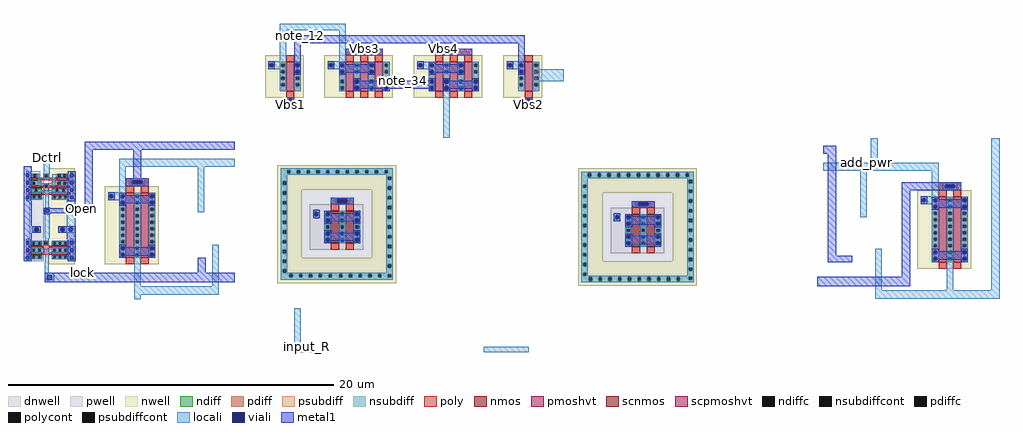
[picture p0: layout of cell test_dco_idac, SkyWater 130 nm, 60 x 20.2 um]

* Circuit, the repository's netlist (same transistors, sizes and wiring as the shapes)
* NGSPICE file created from test_dco_idac.ext - technology: sky130A

.subckt n_lk G S D B
X0 D G S B sky130_fd_pr__nfet_01v8 ad=0.4 pd=2.4 as=0.8 ps=4.8 w=2 l=0.5 M=2
.ends

.subckt sky130_fd_sc_hd__inv_2 A VGND VNB VPB VPWR Y
X0 Y A VPWR VPB sky130_fd_pr__pfet_01v8_hvt ad=0.135 pd=1.27 as=0.26 ps=2.52 w=1 l=0.15 M=2
X1 VGND A Y VNB sky130_fd_pr__nfet_01v8 ad=0.169 pd=1.82 as=0.08775 ps=0.92 w=0.65 l=0.15 M=2
.ends

.subckt sky130_fd_sc_hd__buf_2 A VGND VNB VPB VPWR X
X0 VPWR a_27_47# X VPB sky130_fd_pr__pfet_01v8_hvt ad=0.265 pd=2.53 as=0.135 ps=1.27 w=1 l=0.15 M=2
X1 VPWR A a_27_47# VPB sky130_fd_pr__pfet_01v8_hvt ad=0.149 pd=1.325 as=0.1664 ps=1.8 w=0.64 l=0.15
X2 X a_27_47# VGND VNB sky130_fd_pr__nfet_01v8 ad=0.08775 pd=0.92 as=0.097 ps=0.975 w=0.65 l=0.15 M=2
X3 VGND A a_27_47# VNB sky130_fd_pr__nfet_01v8 ad=0.097 pd=0.975 as=0.1092 ps=1.36 w=0.42 l=0.15
.ends

.subckt p_br1 G S D B
X0 D G S B sky130_fd_pr__pfet_01v8_hvt ad=0.72 pd=4.4 as=0.72 ps=4.4 w=1.8 l=0.5
.ends

.subckt p_lk G S D B
X0 D G S B sky130_fd_pr__pfet_01v8_hvt ad=0.8 pd=4.4 as=1.6 ps=8.8 w=4 l=0.5 M=2
.ends

.subckt p_br2 G S D B
X0 D G S B sky130_fd_pr__pfet_01v8_hvt ad=0.36 pd=2.2 as=0.72 ps=4.4 w=1.8 l=0.5 M=3
.ends

.subckt test_dco_idac VCCA Dctrl Vbs1 Vbs2 Vbs3 Vbs4
Xn_lk_2 n_lk_2/G n_lk_2/S n_lk_2/D n_lk_2/B n_lk
Xn_lk_3 n_lk_3/G n_lk_3/S n_lk_3/D n_lk_3/B n_lk
Xsky130_fd_sc_hd__inv_2_0 Open gnd gnd sky130_fd_sc_hd__inv_2_0/VPB sky130_fd_sc_hd__inv_2_0/VPB
+ lock sky130_fd_sc_hd__inv_2
Xsky130_fd_sc_hd__buf_2_0 Dctrl gnd gnd sky130_fd_sc_hd__inv_2_0/VPB sky130_fd_sc_hd__inv_2_0/VPB
+ Open sky130_fd_sc_hd__buf_2
Xp_br1_0 Vbs1 VCCA note_12 VCCA p_br1
Xp_br1_1 Vbs2 note_12 p_br1_1/D note_12 p_br1
Xp_lk_0 Open p_lk_0/S p_lk_0/D p_lk_0/S p_lk
Xp_lk_1 p_lk_1/G add_pwr p_lk_1/D add_pwr p_lk
Xp_br2_0 p_br2_0/G VCCA note_34 VCCA p_br2
Xp_br2_1 p_br2_1/G note_34 p_br2_1/D note_34 p_br2
.ends

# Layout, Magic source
magic
tech sky130A
<< dnwell >>
rect 120 -1090 760 -460
rect 1970 -1110 2610 -480
<< nwell >>
rect 1555 215 1595 225
rect 1015 90 1035 110
rect 75 -565 805 -415
rect -1330 -860 -1170 -630
rect -1325 -885 -1170 -860
rect -1330 -910 -1170 -885
rect 75 -985 225 -565
rect 655 -985 805 -565
rect 75 -1140 805 -985
rect 1925 -585 2655 -435
rect 1925 -1005 2075 -585
rect 2505 -1005 2655 -585
rect 1925 -1155 2655 -1005
<< pwell >>
rect -1450 -870 -1360 -625
<< pdiffc >>
rect 1015 90 1035 110
<< psubdiff >>
rect -1430 -800 -1380 -790
rect -1430 -820 -1415 -800
rect -1395 -820 -1380 -800
rect -1430 -830 -1380 -820
<< nsubdiff >>
rect 95 -445 785 -435
rect 95 -465 135 -445
rect 155 -465 195 -445
rect 215 -465 255 -445
rect 275 -465 315 -445
rect 335 -465 375 -445
rect 395 -465 435 -445
rect 455 -465 495 -445
rect 515 -465 555 -445
rect 575 -465 615 -445
rect 635 -465 675 -445
rect 695 -465 735 -445
rect 755 -465 785 -445
rect 95 -475 785 -465
rect 95 -515 135 -475
rect 95 -535 110 -515
rect 130 -535 135 -515
rect 95 -575 135 -535
rect 95 -595 110 -575
rect 130 -595 135 -575
rect 95 -635 135 -595
rect 95 -655 110 -635
rect 130 -655 135 -635
rect 95 -695 135 -655
rect 95 -715 110 -695
rect 130 -715 135 -695
rect 95 -755 135 -715
rect 95 -775 110 -755
rect 130 -775 135 -755
rect -1270 -800 -1220 -790
rect -1270 -820 -1255 -800
rect -1235 -820 -1220 -800
rect -1270 -830 -1220 -820
rect 95 -815 135 -775
rect 95 -835 110 -815
rect 130 -835 135 -815
rect 95 -875 135 -835
rect 95 -895 110 -875
rect 130 -895 135 -875
rect 95 -935 135 -895
rect 95 -955 110 -935
rect 130 -955 135 -935
rect 95 -995 135 -955
rect 95 -1015 110 -995
rect 130 -1015 135 -995
rect 95 -1055 135 -1015
rect 95 -1075 110 -1055
rect 130 -1075 135 -1055
rect 745 -485 785 -475
rect 745 -505 755 -485
rect 775 -505 785 -485
rect 745 -545 785 -505
rect 745 -565 755 -545
rect 775 -565 785 -545
rect 745 -605 785 -565
rect 745 -625 755 -605
rect 775 -625 785 -605
rect 745 -665 785 -625
rect 745 -685 755 -665
rect 775 -685 785 -665
rect 745 -725 785 -685
rect 745 -745 755 -725
rect 775 -745 785 -725
rect 745 -785 785 -745
rect 745 -805 755 -785
rect 775 -805 785 -785
rect 745 -845 785 -805
rect 745 -865 755 -845
rect 775 -865 785 -845
rect 745 -905 785 -865
rect 745 -925 755 -905
rect 775 -925 785 -905
rect 745 -965 785 -925
rect 745 -985 755 -965
rect 775 -985 785 -965
rect 745 -1025 785 -985
rect 745 -1045 755 -1025
rect 775 -1045 785 -1025
rect 745 -1075 785 -1045
rect 95 -1085 785 -1075
rect 95 -1105 150 -1085
rect 170 -1105 210 -1085
rect 230 -1105 270 -1085
rect 290 -1105 330 -1085
rect 350 -1105 390 -1085
rect 410 -1105 455 -1085
rect 475 -1105 515 -1085
rect 535 -1105 575 -1085
rect 595 -1105 635 -1085
rect 655 -1105 695 -1085
rect 715 -1105 755 -1085
rect 775 -1105 785 -1085
rect 95 -1120 785 -1105
rect 1945 -465 2635 -455
rect 1945 -485 1985 -465
rect 2005 -485 2045 -465
rect 2065 -485 2105 -465
rect 2125 -485 2165 -465
rect 2185 -485 2225 -465
rect 2245 -485 2285 -465
rect 2305 -485 2345 -465
rect 2365 -485 2405 -465
rect 2425 -485 2465 -465
rect 2485 -485 2525 -465
rect 2545 -485 2585 -465
rect 2605 -485 2635 -465
rect 1945 -495 2635 -485
rect 1945 -535 1985 -495
rect 1945 -555 1955 -535
rect 1975 -555 1985 -535
rect 1945 -595 1985 -555
rect 1945 -615 1955 -595
rect 1975 -615 1985 -595
rect 1945 -655 1985 -615
rect 1945 -675 1955 -655
rect 1975 -675 1985 -655
rect 1945 -715 1985 -675
rect 1945 -735 1955 -715
rect 1975 -735 1985 -715
rect 1945 -775 1985 -735
rect 1945 -795 1955 -775
rect 1975 -795 1985 -775
rect 1945 -835 1985 -795
rect 1945 -855 1955 -835
rect 1975 -855 1985 -835
rect 1945 -895 1985 -855
rect 1945 -915 1955 -895
rect 1975 -915 1985 -895
rect 1945 -955 1985 -915
rect 1945 -975 1955 -955
rect 1975 -975 1985 -955
rect 1945 -1015 1985 -975
rect 1945 -1035 1955 -1015
rect 1975 -1035 1985 -1015
rect 1945 -1075 1985 -1035
rect 1945 -1095 1955 -1075
rect 1975 -1095 1985 -1075
rect 2595 -505 2635 -495
rect 2595 -525 2605 -505
rect 2625 -525 2635 -505
rect 2595 -565 2635 -525
rect 2595 -585 2605 -565
rect 2625 -585 2635 -565
rect 2595 -625 2635 -585
rect 2595 -645 2605 -625
rect 2625 -645 2635 -625
rect 2595 -685 2635 -645
rect 2595 -705 2605 -685
rect 2625 -705 2635 -685
rect 2595 -745 2635 -705
rect 2595 -765 2605 -745
rect 2625 -765 2635 -745
rect 2595 -805 2635 -765
rect 2595 -825 2605 -805
rect 2625 -825 2635 -805
rect 2595 -865 2635 -825
rect 2595 -885 2605 -865
rect 2625 -885 2635 -865
rect 2595 -925 2635 -885
rect 2595 -945 2605 -925
rect 2625 -945 2635 -925
rect 2595 -985 2635 -945
rect 2595 -1005 2605 -985
rect 2625 -1005 2635 -985
rect 2595 -1045 2635 -1005
rect 2595 -1065 2605 -1045
rect 2625 -1065 2635 -1045
rect 2595 -1095 2635 -1065
rect 1945 -1100 2635 -1095
rect 1945 -1105 2605 -1100
rect 1945 -1125 1990 -1105
rect 2010 -1125 2050 -1105
rect 2070 -1125 2110 -1105
rect 2130 -1125 2170 -1105
rect 2190 -1125 2230 -1105
rect 2250 -1125 2290 -1105
rect 2310 -1125 2350 -1105
rect 2370 -1125 2410 -1105
rect 2430 -1125 2470 -1105
rect 2490 -1125 2530 -1105
rect 2550 -1120 2605 -1105
rect 2625 -1120 2635 -1100
rect 2550 -1125 2635 -1120
rect 1945 -1135 2635 -1125
<< psubdiffcont >>
rect -1415 -820 -1395 -800
<< nsubdiffcont >>
rect 135 -465 155 -445
rect 195 -465 215 -445
rect 255 -465 275 -445
rect 315 -465 335 -445
rect 375 -465 395 -445
rect 435 -465 455 -445
rect 495 -465 515 -445
rect 555 -465 575 -445
rect 615 -465 635 -445
rect 675 -465 695 -445
rect 735 -465 755 -445
rect 110 -535 130 -515
rect 110 -595 130 -575
rect 110 -655 130 -635
rect 110 -715 130 -695
rect 110 -775 130 -755
rect -1255 -820 -1235 -800
rect 110 -835 130 -815
rect 110 -895 130 -875
rect 110 -955 130 -935
rect 110 -1015 130 -995
rect 110 -1075 130 -1055
rect 755 -505 775 -485
rect 755 -565 775 -545
rect 755 -625 775 -605
rect 755 -685 775 -665
rect 755 -745 775 -725
rect 755 -805 775 -785
rect 755 -865 775 -845
rect 755 -925 775 -905
rect 755 -985 775 -965
rect 755 -1045 775 -1025
rect 150 -1105 170 -1085
rect 210 -1105 230 -1085
rect 270 -1105 290 -1085
rect 330 -1105 350 -1085
rect 390 -1105 410 -1085
rect 455 -1105 475 -1085
rect 515 -1105 535 -1085
rect 575 -1105 595 -1085
rect 635 -1105 655 -1085
rect 695 -1105 715 -1085
rect 755 -1105 775 -1085
rect 1985 -485 2005 -465
rect 2045 -485 2065 -465
rect 2105 -485 2125 -465
rect 2165 -485 2185 -465
rect 2225 -485 2245 -465
rect 2285 -485 2305 -465
rect 2345 -485 2365 -465
rect 2405 -485 2425 -465
rect 2465 -485 2485 -465
rect 2525 -485 2545 -465
rect 2585 -485 2605 -465
rect 1955 -555 1975 -535
rect 1955 -615 1975 -595
rect 1955 -675 1975 -655
rect 1955 -735 1975 -715
rect 1955 -795 1975 -775
rect 1955 -855 1975 -835
rect 1955 -915 1975 -895
rect 1955 -975 1975 -955
rect 1955 -1035 1975 -1015
rect 1955 -1095 1975 -1075
rect 2605 -525 2625 -505
rect 2605 -585 2625 -565
rect 2605 -645 2625 -625
rect 2605 -705 2625 -685
rect 2605 -765 2625 -745
rect 2605 -825 2625 -805
rect 2605 -885 2625 -865
rect 2605 -945 2625 -925
rect 2605 -1005 2625 -985
rect 2605 -1065 2625 -1045
rect 1990 -1125 2010 -1105
rect 2050 -1125 2070 -1105
rect 2110 -1125 2130 -1105
rect 2170 -1125 2190 -1105
rect 2230 -1125 2250 -1105
rect 2290 -1125 2310 -1105
rect 2350 -1125 2370 -1105
rect 2410 -1125 2430 -1105
rect 2470 -1125 2490 -1105
rect 2530 -1125 2550 -1105
rect 2605 -1120 2625 -1100
<< poly >>
rect 130 -10 180 0
rect 130 -30 145 -10
rect 165 -30 180 -10
rect 130 -40 180 -30
rect 1595 -10 1645 0
rect 1595 -30 1610 -10
rect 1630 -30 1645 -10
rect 1595 -40 1645 -30
<< polycont >>
rect 145 -30 165 -10
rect 1610 -30 1630 -10
<< locali >>
rect 90 415 495 455
rect 90 225 130 415
rect 455 225 495 415
rect 60 210 130 225
rect 60 175 90 210
rect 425 200 495 225
rect 425 175 455 200
rect 975 175 1005 220
rect 1525 215 1595 225
rect 1525 175 1555 215
rect 1645 100 1835 175
rect 130 -10 180 0
rect 130 -30 145 -10
rect 165 -30 180 -10
rect 130 -40 180 -30
rect 1095 -245 1135 40
rect 1595 -10 1645 0
rect 1595 -30 1610 -10
rect 1630 -30 1645 -10
rect 1595 -40 1645 -30
rect -1360 -470 -1325 -365
rect -895 -425 -185 -375
rect 3725 -400 3765 -250
rect -1355 -585 -1325 -570
rect -895 -580 -855 -425
rect -1350 -675 -1330 -585
rect -925 -595 -855 -580
rect -1355 -685 -1325 -675
rect -1355 -705 -1350 -685
rect -1330 -705 -1325 -685
rect -1430 -800 -1380 -790
rect -1430 -820 -1415 -800
rect -1395 -820 -1380 -800
rect -1430 -830 -1380 -820
rect -1355 -860 -1325 -705
rect -1220 -790 -1165 -625
rect -925 -630 -895 -595
rect -415 -705 -375 -425
rect 95 -445 785 -435
rect 95 -465 135 -445
rect 155 -465 195 -445
rect 215 -465 255 -445
rect 275 -465 315 -445
rect 335 -465 375 -445
rect 395 -465 435 -445
rect 455 -465 495 -445
rect 515 -465 555 -445
rect 575 -465 615 -445
rect 635 -465 675 -445
rect 695 -465 735 -445
rect 755 -465 785 -445
rect 3430 -450 4140 -400
rect 95 -475 785 -465
rect 95 -515 135 -475
rect 95 -535 110 -515
rect 130 -535 135 -515
rect 95 -575 135 -535
rect 95 -595 110 -575
rect 130 -595 135 -575
rect 95 -635 135 -595
rect 95 -655 110 -635
rect 130 -655 135 -635
rect 95 -695 135 -655
rect -1270 -800 -1165 -790
rect -1270 -820 -1255 -800
rect -1235 -820 -1205 -800
rect -1185 -820 -1165 -800
rect -1270 -830 -1165 -820
rect 95 -715 110 -695
rect 130 -715 135 -695
rect 95 -755 135 -715
rect 95 -775 110 -755
rect 130 -775 135 -755
rect 95 -815 135 -775
rect 95 -835 110 -815
rect 130 -835 135 -815
rect -1350 -885 -1330 -860
rect 95 -875 135 -835
rect 95 -895 110 -875
rect 130 -895 135 -875
rect -1355 -950 -1330 -945
rect -1350 -1010 -1330 -950
rect -1355 -1075 -1330 -1010
rect -1355 -1090 -1295 -1075
rect -1355 -1120 -1340 -1090
rect -1310 -1120 -1295 -1090
rect -1355 -1135 -1295 -1120
rect -805 -1160 -765 -980
rect -325 -1160 -285 -905
rect 95 -935 135 -895
rect 95 -955 110 -935
rect 130 -955 135 -935
rect 95 -995 135 -955
rect 95 -1015 110 -995
rect 130 -1015 135 -995
rect 95 -1055 135 -1015
rect 95 -1075 110 -1055
rect 130 -1075 135 -1055
rect 745 -485 785 -475
rect 745 -505 755 -485
rect 775 -505 785 -485
rect 745 -545 785 -505
rect 745 -565 755 -545
rect 775 -565 785 -545
rect 745 -605 785 -565
rect 745 -625 755 -605
rect 775 -625 785 -605
rect 745 -665 785 -625
rect 745 -685 755 -665
rect 775 -685 785 -665
rect 745 -725 785 -685
rect 745 -745 755 -725
rect 775 -745 785 -725
rect 745 -785 785 -745
rect 745 -805 755 -785
rect 775 -805 785 -785
rect 745 -845 785 -805
rect 745 -865 755 -845
rect 775 -865 785 -845
rect 745 -905 785 -865
rect 745 -925 755 -905
rect 775 -925 785 -905
rect 745 -965 785 -925
rect 745 -985 755 -965
rect 775 -985 785 -965
rect 745 -1025 785 -985
rect 745 -1045 755 -1025
rect 775 -1045 785 -1025
rect 745 -1075 785 -1045
rect 95 -1085 785 -1075
rect 95 -1105 150 -1085
rect 170 -1105 210 -1085
rect 230 -1105 270 -1085
rect 290 -1105 330 -1085
rect 350 -1105 390 -1085
rect 410 -1105 455 -1085
rect 475 -1105 515 -1085
rect 535 -1105 575 -1085
rect 595 -1105 635 -1085
rect 655 -1105 695 -1085
rect 715 -1105 755 -1085
rect 775 -1105 785 -1085
rect 95 -1120 785 -1105
rect 1945 -465 2635 -455
rect 1945 -485 1985 -465
rect 2005 -485 2045 -465
rect 2065 -485 2105 -465
rect 2125 -485 2165 -465
rect 2185 -485 2225 -465
rect 2245 -485 2285 -465
rect 2305 -485 2345 -465
rect 2365 -485 2405 -465
rect 2425 -485 2465 -465
rect 2485 -485 2525 -465
rect 2545 -485 2585 -465
rect 2605 -485 2635 -465
rect 1945 -495 2635 -485
rect 1945 -535 1985 -495
rect 1945 -555 1955 -535
rect 1975 -555 1985 -535
rect 1945 -595 1985 -555
rect 1945 -615 1955 -595
rect 1975 -615 1985 -595
rect 1945 -655 1985 -615
rect 1945 -675 1955 -655
rect 1975 -675 1985 -655
rect 1945 -715 1985 -675
rect 1945 -735 1955 -715
rect 1975 -735 1985 -715
rect 1945 -775 1985 -735
rect 1945 -795 1955 -775
rect 1975 -795 1985 -775
rect 1945 -835 1985 -795
rect 1945 -855 1955 -835
rect 1975 -855 1985 -835
rect 1945 -895 1985 -855
rect 1945 -915 1955 -895
rect 1975 -915 1985 -895
rect 1945 -955 1985 -915
rect 1945 -975 1955 -955
rect 1975 -975 1985 -955
rect 1945 -1015 1985 -975
rect 1945 -1035 1955 -1015
rect 1975 -1035 1985 -1015
rect 1945 -1075 1985 -1035
rect 1945 -1095 1955 -1075
rect 1975 -1095 1985 -1075
rect 2595 -505 2635 -495
rect 2595 -525 2605 -505
rect 2625 -525 2635 -505
rect 2595 -565 2635 -525
rect 2595 -585 2605 -565
rect 2625 -585 2635 -565
rect 2595 -625 2635 -585
rect 2595 -645 2605 -625
rect 2625 -645 2635 -625
rect 2595 -685 2635 -645
rect 2595 -705 2605 -685
rect 2625 -705 2635 -685
rect 2595 -745 2635 -705
rect 3660 -735 3700 -450
rect 4100 -605 4140 -450
rect 4070 -625 4140 -605
rect 4070 -655 4100 -625
rect 2595 -765 2605 -745
rect 2625 -765 2635 -745
rect 2595 -805 2635 -765
rect 2595 -825 2605 -805
rect 2625 -825 2635 -805
rect 2595 -865 2635 -825
rect 2595 -885 2605 -865
rect 2625 -885 2635 -865
rect 2595 -925 2635 -885
rect 2595 -945 2605 -925
rect 2625 -945 2635 -925
rect 2595 -985 2635 -945
rect 2595 -1005 2605 -985
rect 2625 -1005 2635 -985
rect 2595 -1045 2635 -1005
rect 2595 -1065 2605 -1045
rect 2625 -1065 2635 -1045
rect 2595 -1095 2635 -1065
rect 1945 -1100 2635 -1095
rect 1945 -1105 2605 -1100
rect 1945 -1125 1990 -1105
rect 2010 -1125 2050 -1105
rect 2070 -1125 2110 -1105
rect 2130 -1125 2170 -1105
rect 2190 -1125 2230 -1105
rect 2250 -1125 2290 -1105
rect 2310 -1125 2350 -1105
rect 2370 -1125 2410 -1105
rect 2430 -1125 2470 -1105
rect 2490 -1125 2530 -1105
rect 2550 -1120 2605 -1105
rect 2625 -1120 2635 -1100
rect 2550 -1125 2635 -1120
rect 1945 -1135 2635 -1125
rect -805 -1210 -285 -1160
rect 3750 -1185 3790 -930
rect 4190 -1185 4230 -1005
rect 4465 -1185 4515 -250
rect -805 -1240 -765 -1210
rect 3750 -1235 4515 -1185
rect 180 -1530 220 -1295
rect 180 -1565 295 -1530
rect 1345 -1565 1620 -1530
<< viali >>
rect 190 190 210 210
rect 1565 190 1585 210
rect 190 150 210 170
rect 1565 150 1585 170
rect 1015 90 1035 110
rect 1015 50 1035 70
rect 145 -30 165 -10
rect 1610 -30 1630 -10
rect -1350 -705 -1330 -685
rect -1415 -820 -1395 -800
rect -1255 -820 -1235 -800
rect -1205 -820 -1185 -800
rect -1340 -1120 -1310 -1090
<< metal1 >>
rect 180 335 1595 385
rect 180 210 220 335
rect 495 260 725 300
rect 1045 260 1275 300
rect 180 190 190 210
rect 210 190 220 210
rect 180 170 220 190
rect 180 150 190 170
rect 210 150 220 170
rect 180 140 220 150
rect 1555 210 1595 335
rect 1555 190 1565 210
rect 1585 190 1595 210
rect 1555 170 1595 190
rect 1555 150 1565 170
rect 1585 150 1595 170
rect 1555 140 1595 150
rect 1005 110 1045 120
rect 1005 105 1015 110
rect 765 90 1015 105
rect 1035 90 1045 110
rect 765 70 1045 90
rect 765 55 1015 70
rect 1005 50 1015 55
rect 1035 50 1045 70
rect 1005 40 1045 50
rect 130 -10 180 0
rect 130 -30 145 -10
rect 165 -30 180 -10
rect 130 -40 180 -30
rect 1595 -10 1645 0
rect 1595 -30 1610 -10
rect 1630 -30 1645 -10
rect 1595 -40 1645 -30
rect -1110 -320 -185 -270
rect -1485 -455 -1435 -420
rect -1485 -790 -1435 -635
rect -1360 -680 -1320 -675
rect -1110 -680 -1060 -320
rect -810 -510 -760 -320
rect 3430 -345 3510 -295
rect -1360 -685 -1060 -680
rect -1360 -705 -1350 -685
rect -1330 -705 -1060 -685
rect -1360 -710 -1060 -705
rect -1360 -715 -1320 -710
rect -1485 -800 -1380 -790
rect -1485 -820 -1415 -800
rect -1395 -820 -1380 -800
rect -1485 -830 -1380 -820
rect -1270 -800 -1165 -790
rect -1270 -820 -1255 -800
rect -1235 -820 -1205 -800
rect -1185 -820 -1165 -800
rect -1270 -830 -1165 -820
rect -1485 -870 -1435 -830
rect -1220 -870 -1165 -830
rect 3460 -970 3510 -345
rect 3915 -570 4140 -520
rect -415 -1075 -365 -985
rect 3460 -1010 3610 -970
rect -1355 -1090 -185 -1075
rect -1355 -1120 -1340 -1090
rect -1310 -1120 -185 -1090
rect 3915 -1100 3965 -570
rect -1355 -1135 -185 -1120
rect 3395 -1160 3965 -1100
use n_lk  n_lk_2
transform 1 0 405 0 1 -895
box -130 -40 200 280
use n_lk  n_lk_3
transform 1 0 2255 0 1 -915
box -130 -40 200 280
use p_br1  p_br1_0
transform 1 0 130 0 1 40
box -130 -40 108 220
use p_br1  p_br1_1
transform 1 0 1595 0 1 40
box -130 -40 108 220
use p_br2  p_br2_0
transform 1 0 495 0 1 40
box -130 -40 290 260
use p_br2  p_br2_1
transform 1 0 1045 0 1 40
box -130 -40 290 260
use p_lk  p_lk_0
transform 1 0 -855 0 1 -985
box -130 -40 200 490
use p_lk  p_lk_1
transform 1 0 4140 0 1 -1010
box -130 -40 200 490
use sky130_fd_sc_hd__buf_2  sky130_fd_sc_hd__buf_2_0 ~/eda/unic-cass/share/pdk/sky130A/libs.ref/sky130_fd_sc_hd/mag
transform 0 1 -1461 -1 0 -453
box -19 -24 203 296
use sky130_fd_sc_hd__inv_2  sky130_fd_sc_hd__inv_2_0 ~/eda/unic-cass/share/pdk/sky130A/libs.ref/sky130_fd_sc_hd/mag
transform 0 1 -1461 -1 0 -868
box -19 -24 157 296
<< labels >>
rlabel metal1 220 385 220 385 1 note_12
rlabel metal1 850 105 850 105 1 note_34
rlabel locali 255 -1530 255 -1530 1 input_R
rlabel locali 130 455 130 455 1 VCCA
port 1 n
rlabel metal1 155 -40 155 -40 5 Vbs1
port 3 s
rlabel metal1 1620 -40 1620 -40 5 Vbs2
port 4 s
rlabel metal1 610 300 610 300 1 Vbs3
rlabel metal1 565 300 565 300 1 Vbs3
port 5 n
rlabel metal1 1100 300 1100 300 1 Vbs4
port 6 n
rlabel locali 3700 -400 3700 -400 1 add_pwr
rlabel locali -1340 -365 -1340 -365 1 Dctrl
port 2 n
rlabel metal1 -1130 -680 -1130 -680 1 Open
rlabel metal1 -1120 -1075 -1120 -1075 1 lock
rlabel metal1 -1485 -430 -1485 -430 7 gnd
<< end >>

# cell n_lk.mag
magic
tech sky130A
<< pwell >>
rect -130 -40 200 240
<< nmos >>
rect 0 0 50 200
rect 90 0 140 200
<< ndiff >>
rect -40 190 0 200
rect -40 170 -30 190
rect -10 170 0 190
rect -40 150 0 170
rect -40 130 -30 150
rect -10 130 0 150
rect -40 110 0 130
rect -40 90 -30 110
rect -10 90 0 110
rect -40 70 0 90
rect -40 50 -30 70
rect -10 50 0 70
rect -40 30 0 50
rect -40 10 -30 30
rect -10 10 0 30
rect -40 0 0 10
rect 50 190 90 200
rect 50 170 60 190
rect 80 170 90 190
rect 50 150 90 170
rect 50 130 60 150
rect 80 130 90 150
rect 50 110 90 130
rect 50 90 60 110
rect 80 90 90 110
rect 50 70 90 90
rect 50 50 60 70
rect 80 50 90 70
rect 50 30 90 50
rect 50 10 60 30
rect 80 10 90 30
rect 50 0 90 10
rect 140 190 180 200
rect 140 170 150 190
rect 170 170 180 190
rect 140 150 180 170
rect 140 130 150 150
rect 170 130 180 150
rect 140 110 180 130
rect 140 90 150 110
rect 170 90 180 110
rect 140 70 180 90
rect 140 50 150 70
rect 170 50 180 70
rect 140 30 180 50
rect 140 10 150 30
rect 170 10 180 30
rect 140 0 180 10
<< ndiffc >>
rect -30 170 -10 190
rect -30 130 -10 150
rect -30 90 -10 110
rect -30 50 -10 70
rect -30 10 -10 30
rect 60 170 80 190
rect 60 130 80 150
rect 60 90 80 110
rect 60 50 80 70
rect 60 10 80 30
rect 150 170 170 190
rect 150 130 170 150
rect 150 90 170 110
rect 150 50 170 70
rect 150 10 170 30
<< psubdiff >>
rect -110 190 -70 205
rect -110 170 -100 190
rect -80 170 -70 190
rect -110 155 -70 170
<< psubdiffcont >>
rect -100 170 -80 190
<< poly >>
rect 0 270 140 280
rect 0 250 40 270
rect 100 250 140 270
rect 0 240 140 250
rect 0 200 50 240
rect 90 200 140 240
rect 0 -40 50 0
rect 90 -40 140 0
<< polycont >>
rect 40 250 100 270
<< locali >>
rect 25 270 115 280
rect 25 250 40 270
rect 100 250 115 270
rect 25 240 115 250
rect -110 190 -70 205
rect -110 170 -100 190
rect -80 170 -70 190
rect -110 155 -70 170
rect -40 190 0 200
rect -40 170 -30 190
rect -10 170 0 190
rect -40 150 0 170
rect -40 130 -30 150
rect -10 130 0 150
rect -40 110 0 130
rect -40 90 -30 110
rect -10 90 0 110
rect -40 70 0 90
rect -40 50 -30 70
rect -10 50 0 70
rect -40 30 0 50
rect -40 10 -30 30
rect -10 10 0 30
rect -40 0 0 10
rect 50 190 90 200
rect 50 170 60 190
rect 80 170 90 190
rect 50 150 90 170
rect 50 130 60 150
rect 80 130 90 150
rect 50 110 90 130
rect 50 90 60 110
rect 80 90 90 110
rect 50 70 90 90
rect 50 50 60 70
rect 80 50 90 70
rect 50 30 90 50
rect 50 10 60 30
rect 80 10 90 30
rect 50 0 90 10
rect 140 190 180 200
rect 140 170 150 190
rect 170 170 180 190
rect 140 150 180 170
rect 140 130 150 150
rect 170 130 180 150
rect 140 110 180 130
rect 140 90 150 110
rect 170 90 180 110
rect 140 70 180 90
rect 140 50 150 70
rect 170 50 180 70
rect 140 30 180 50
rect 140 10 150 30
rect 170 10 180 30
rect 140 0 180 10
<< viali >>
rect 40 250 100 270
rect -100 170 -80 190
rect -30 170 -10 190
rect -30 130 -10 150
rect -30 50 -10 70
rect -30 10 -10 30
rect 150 170 170 190
rect 150 130 170 150
rect 150 50 170 70
rect 150 10 170 30
<< metal1 >>
rect 0 270 140 280
rect 0 250 40 270
rect 100 250 140 270
rect 0 240 140 250
rect -110 190 -70 205
rect -110 170 -100 190
rect -80 170 -70 190
rect -110 155 -70 170
rect -40 190 0 200
rect -40 170 -30 190
rect -10 185 0 190
rect 140 190 180 200
rect 140 185 150 190
rect -10 170 150 185
rect 170 170 180 190
rect -40 150 180 170
rect -40 130 -30 150
rect -10 135 150 150
rect -10 130 0 135
rect -40 120 0 130
rect 140 130 150 135
rect 170 130 180 150
rect 140 120 180 130
rect -40 70 0 80
rect -40 50 -30 70
rect -10 65 0 70
rect 140 70 180 80
rect 140 65 150 70
rect -10 50 150 65
rect 170 50 180 70
rect -40 30 180 50
rect -40 10 -30 30
rect -10 15 150 30
rect -10 10 0 15
rect -40 0 0 10
rect 140 10 150 15
rect 170 10 180 30
rect 140 0 180 10
<< labels >>
rlabel metal1 -90 205 -90 205 1 B
port 4 n
rlabel metal1 -20 200 -20 200 1 S
port 2 n
rlabel locali 70 0 70 0 5 D
port 3 s
rlabel metal1 70 280 70 280 1 G
port 1 n
<< end >>

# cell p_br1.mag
magic
tech sky130A
<< nwell >>
rect -130 -40 108 220
<< pmoshvt >>
rect 0 0 50 180
<< pdiff >>
rect -40 170 0 180
rect -40 150 -30 170
rect -10 150 0 170
rect -40 130 0 150
rect -40 110 -30 130
rect -10 110 0 130
rect -40 90 0 110
rect -40 70 -30 90
rect -10 70 0 90
rect -40 50 0 70
rect -40 30 -30 50
rect -10 30 0 50
rect -40 0 0 30
rect 50 170 90 180
rect 50 150 60 170
rect 80 150 90 170
rect 50 130 90 150
rect 50 110 60 130
rect 80 110 90 130
rect 50 90 90 110
rect 50 70 60 90
rect 80 70 90 90
rect 50 50 90 70
rect 50 30 60 50
rect 80 30 90 50
rect 50 0 90 30
<< pdiffc >>
rect -30 150 -10 170
rect -30 110 -10 130
rect -30 70 -10 90
rect -30 30 -10 50
rect 60 150 80 170
rect 60 110 80 130
rect 60 70 80 90
rect 60 30 80 50
<< nsubdiff >>
rect -110 170 -70 185
rect -110 150 -100 170
rect -80 150 -70 170
rect -110 135 -70 150
<< nsubdiffcont >>
rect -100 150 -80 170
<< poly >>
rect 0 180 50 220
rect 0 -40 50 0
<< locali >>
rect -110 170 -70 185
rect -110 150 -100 170
rect -80 150 -70 170
rect -110 135 -70 150
rect -40 170 0 180
rect -40 150 -30 170
rect -10 150 0 170
rect -40 130 0 150
rect -40 110 -30 130
rect -10 110 0 130
rect -40 90 0 110
rect -40 70 -30 90
rect -10 70 0 90
rect -40 50 0 70
rect -40 30 -30 50
rect -10 30 0 50
rect -40 0 0 30
rect 50 170 90 180
rect 50 150 60 170
rect 80 150 90 170
rect 50 130 90 150
rect 50 110 60 130
rect 80 110 90 130
rect 50 90 90 110
rect 50 70 60 90
rect 80 70 90 90
rect 50 50 90 70
rect 50 30 60 50
rect 80 30 90 50
rect 50 0 90 30
<< viali >>
rect -100 150 -80 170
<< metal1 >>
rect -110 170 -70 185
rect -110 150 -100 170
rect -80 150 -70 170
rect -110 135 -70 150
<< labels >>
rlabel metal1 -90 185 -90 185 1 B
port 4 n
rlabel locali -20 180 -20 180 1 S
port 2 n
rlabel locali 70 180 70 180 1 D
port 3 n
rlabel poly 25 220 25 220 1 G
port 1 n
<< end >>

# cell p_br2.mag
magic
tech sky130A
<< nwell >>
rect -130 -40 290 220
<< pmoshvt >>
rect 0 0 50 180
rect 90 0 140 180
rect 180 0 230 180
<< pdiff >>
rect -40 170 0 180
rect -40 150 -30 170
rect -10 150 0 170
rect -40 130 0 150
rect -40 110 -30 130
rect -10 110 0 130
rect -40 70 0 110
rect -40 50 -30 70
rect -10 50 0 70
rect -40 30 0 50
rect -40 10 -30 30
rect -10 10 0 30
rect -40 0 0 10
rect 50 170 90 180
rect 50 150 60 170
rect 80 150 90 170
rect 50 130 90 150
rect 50 110 60 130
rect 80 110 90 130
rect 50 70 90 110
rect 50 50 60 70
rect 80 50 90 70
rect 50 30 90 50
rect 50 10 60 30
rect 80 10 90 30
rect 50 0 90 10
rect 140 170 180 180
rect 140 150 150 170
rect 170 150 180 170
rect 140 130 180 150
rect 140 110 150 130
rect 170 110 180 130
rect 140 70 180 110
rect 140 50 150 70
rect 170 50 180 70
rect 140 30 180 50
rect 140 10 150 30
rect 170 10 180 30
rect 140 0 180 10
rect 230 170 270 180
rect 230 150 240 170
rect 260 150 270 170
rect 230 130 270 150
rect 230 110 240 130
rect 260 110 270 130
rect 230 70 270 110
rect 230 50 240 70
rect 260 50 270 70
rect 230 30 270 50
rect 230 10 240 30
rect 260 10 270 30
rect 230 0 270 10
<< pdiffc >>
rect -30 150 -10 170
rect -30 110 -10 130
rect -30 50 -10 70
rect -30 10 -10 30
rect 60 150 80 170
rect 60 110 80 130
rect 60 50 80 70
rect 60 10 80 30
rect 150 150 170 170
rect 150 110 170 130
rect 150 50 170 70
rect 150 10 170 30
rect 240 150 260 170
rect 240 110 260 130
rect 240 50 260 70
rect 240 10 260 30
<< nsubdiff >>
rect -110 170 -70 185
rect -110 150 -100 170
rect -80 150 -70 170
rect -110 135 -70 150
<< nsubdiffcont >>
rect -100 150 -80 170
<< poly >>
rect 0 220 230 260
rect 0 180 50 220
rect 90 180 140 220
rect 180 180 230 220
rect 0 -40 50 0
rect 90 -40 140 0
rect 180 -40 230 0
<< locali >>
rect -110 170 -70 185
rect -110 150 -100 170
rect -80 150 -70 170
rect -110 135 -70 150
rect -40 170 0 180
rect -40 150 -30 170
rect -10 150 0 170
rect -40 130 0 150
rect -40 110 -30 130
rect -10 110 0 130
rect -40 70 0 110
rect -40 50 -30 70
rect -10 50 0 70
rect -40 30 0 50
rect -40 10 -30 30
rect -10 10 0 30
rect -40 0 0 10
rect 50 170 90 180
rect 50 150 60 170
rect 80 150 90 170
rect 50 130 90 150
rect 50 110 60 130
rect 80 110 90 130
rect 50 70 90 110
rect 50 50 60 70
rect 80 50 90 70
rect 50 30 90 50
rect 50 10 60 30
rect 80 10 90 30
rect 50 0 90 10
rect 140 170 180 180
rect 140 150 150 170
rect 170 150 180 170
rect 140 130 180 150
rect 140 110 150 130
rect 170 110 180 130
rect 140 70 180 110
rect 140 50 150 70
rect 170 50 180 70
rect 140 30 180 50
rect 140 10 150 30
rect 170 10 180 30
rect 140 0 180 10
rect 230 170 270 180
rect 230 150 240 170
rect 260 150 270 170
rect 230 130 270 150
rect 230 110 240 130
rect 260 110 270 130
rect 230 70 270 110
rect 230 50 240 70
rect 260 50 270 70
rect 230 30 270 50
rect 230 10 240 30
rect 260 10 270 30
rect 230 0 270 10
<< viali >>
rect -100 150 -80 170
rect -30 150 -10 170
rect -30 110 -10 130
rect 60 50 80 70
rect 60 10 80 30
rect 150 150 170 170
rect 150 110 170 130
rect 240 50 260 70
rect 240 10 260 30
<< metal1 >>
rect -110 170 -70 185
rect -110 150 -100 170
rect -80 150 -70 170
rect -110 135 -70 150
rect -40 170 0 180
rect -40 150 -30 170
rect -10 165 0 170
rect 140 170 180 180
rect 140 165 150 170
rect -10 150 150 165
rect 170 150 180 170
rect -40 130 180 150
rect -40 110 -30 130
rect -10 115 150 130
rect -10 110 0 115
rect -40 100 0 110
rect 140 110 150 115
rect 170 110 180 130
rect 140 100 180 110
rect 50 70 90 80
rect 50 50 60 70
rect 80 65 90 70
rect 230 70 270 80
rect 230 65 240 70
rect 80 50 240 65
rect 260 50 270 70
rect 50 30 270 50
rect 50 10 60 30
rect 80 15 240 30
rect 80 10 90 15
rect 50 0 90 10
rect 230 10 240 15
rect 260 10 270 30
rect 230 0 270 10
<< labels >>
rlabel metal1 -90 185 -90 185 1 B
port 4 n
rlabel metal1 -20 180 -20 180 1 S
port 2 n
rlabel metal1 250 0 250 0 5 D
port 3 s
rlabel poly 120 260 120 260 1 G
port 1 n
<< end >>

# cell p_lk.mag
magic
tech sky130A
<< nwell >>
rect -130 -40 200 440
<< pmoshvt >>
rect 0 0 50 400
rect 90 0 140 400
<< pdiff >>
rect -40 390 0 400
rect -40 370 -30 390
rect -10 370 0 390
rect -40 350 0 370
rect -40 330 -30 350
rect -10 330 0 350
rect -40 310 0 330
rect -40 290 -30 310
rect -10 290 0 310
rect -40 270 0 290
rect -40 250 -30 270
rect -10 250 0 270
rect -40 230 0 250
rect -40 210 -30 230
rect -10 210 0 230
rect -40 190 0 210
rect -40 170 -30 190
rect -10 170 0 190
rect -40 150 0 170
rect -40 130 -30 150
rect -10 130 0 150
rect -40 110 0 130
rect -40 90 -30 110
rect -10 90 0 110
rect -40 70 0 90
rect -40 50 -30 70
rect -10 50 0 70
rect -40 30 0 50
rect -40 10 -30 30
rect -10 10 0 30
rect -40 0 0 10
rect 50 390 90 400
rect 50 370 60 390
rect 80 370 90 390
rect 50 350 90 370
rect 50 330 60 350
rect 80 330 90 350
rect 50 310 90 330
rect 50 290 60 310
rect 80 290 90 310
rect 50 270 90 290
rect 50 250 60 270
rect 80 250 90 270
rect 50 230 90 250
rect 50 210 60 230
rect 80 210 90 230
rect 50 190 90 210
rect 50 170 60 190
rect 80 170 90 190
rect 50 150 90 170
rect 50 130 60 150
rect 80 130 90 150
rect 50 110 90 130
rect 50 90 60 110
rect 80 90 90 110
rect 50 70 90 90
rect 50 50 60 70
rect 80 50 90 70
rect 50 30 90 50
rect 50 10 60 30
rect 80 10 90 30
rect 50 0 90 10
rect 140 390 180 400
rect 140 370 150 390
rect 170 370 180 390
rect 140 350 180 370
rect 140 330 150 350
rect 170 330 180 350
rect 140 310 180 330
rect 140 290 150 310
rect 170 290 180 310
rect 140 270 180 290
rect 140 250 150 270
rect 170 250 180 270
rect 140 230 180 250
rect 140 210 150 230
rect 170 210 180 230
rect 140 190 180 210
rect 140 170 150 190
rect 170 170 180 190
rect 140 150 180 170
rect 140 130 150 150
rect 170 130 180 150
rect 140 110 180 130
rect 140 90 150 110
rect 170 90 180 110
rect 140 70 180 90
rect 140 50 150 70
rect 170 50 180 70
rect 140 30 180 50
rect 140 10 150 30
rect 170 10 180 30
rect 140 0 180 10
<< pdiffc >>
rect -30 370 -10 390
rect -30 330 -10 350
rect -30 290 -10 310
rect -30 250 -10 270
rect -30 210 -10 230
rect -30 170 -10 190
rect -30 130 -10 150
rect -30 90 -10 110
rect -30 50 -10 70
rect -30 10 -10 30
rect 60 370 80 390
rect 60 330 80 350
rect 60 290 80 310
rect 60 250 80 270
rect 60 210 80 230
rect 60 170 80 190
rect 60 130 80 150
rect 60 90 80 110
rect 60 50 80 70
rect 60 10 80 30
rect 150 370 170 390
rect 150 330 170 350
rect 150 290 170 310
rect 150 250 170 270
rect 150 210 170 230
rect 150 170 170 190
rect 150 130 170 150
rect 150 90 170 110
rect 150 50 170 70
rect 150 10 170 30
<< nsubdiff >>
rect -110 390 -70 405
rect -110 370 -100 390
rect -80 370 -70 390
rect -110 355 -70 370
<< nsubdiffcont >>
rect -100 370 -80 390
<< poly >>
rect 0 475 140 490
rect 0 455 40 475
rect 100 455 140 475
rect 0 440 140 455
rect 0 400 50 440
rect 90 400 140 440
rect 0 -40 50 0
rect 90 -40 140 0
<< polycont >>
rect 40 455 100 475
<< locali >>
rect 25 475 115 490
rect 25 455 40 475
rect 100 455 115 475
rect 25 440 115 455
rect -110 390 -70 405
rect -110 370 -100 390
rect -80 370 -70 390
rect -110 355 -70 370
rect -40 390 0 400
rect -40 370 -30 390
rect -10 370 0 390
rect -40 350 0 370
rect -40 330 -30 350
rect -10 330 0 350
rect -40 310 0 330
rect -40 290 -30 310
rect -10 290 0 310
rect -40 270 0 290
rect -40 250 -30 270
rect -10 250 0 270
rect -40 230 0 250
rect -40 210 -30 230
rect -10 210 0 230
rect -40 190 0 210
rect -40 170 -30 190
rect -10 170 0 190
rect -40 150 0 170
rect -40 130 -30 150
rect -10 130 0 150
rect -40 110 0 130
rect -40 90 -30 110
rect -10 90 0 110
rect -40 70 0 90
rect -40 50 -30 70
rect -10 50 0 70
rect -40 30 0 50
rect -40 10 -30 30
rect -10 10 0 30
rect -40 0 0 10
rect 50 390 90 400
rect 50 370 60 390
rect 80 370 90 390
rect 50 350 90 370
rect 50 330 60 350
rect 80 330 90 350
rect 50 310 90 330
rect 50 290 60 310
rect 80 290 90 310
rect 50 270 90 290
rect 50 250 60 270
rect 80 250 90 270
rect 50 230 90 250
rect 50 210 60 230
rect 80 210 90 230
rect 50 190 90 210
rect 50 170 60 190
rect 80 170 90 190
rect 50 150 90 170
rect 50 130 60 150
rect 80 130 90 150
rect 50 110 90 130
rect 50 90 60 110
rect 80 90 90 110
rect 50 70 90 90
rect 50 50 60 70
rect 80 50 90 70
rect 50 30 90 50
rect 50 10 60 30
rect 80 10 90 30
rect 50 0 90 10
rect 140 390 180 400
rect 140 370 150 390
rect 170 370 180 390
rect 140 350 180 370
rect 140 330 150 350
rect 170 330 180 350
rect 140 310 180 330
rect 140 290 150 310
rect 170 290 180 310
rect 140 270 180 290
rect 140 250 150 270
rect 170 250 180 270
rect 140 230 180 250
rect 140 210 150 230
rect 170 210 180 230
rect 140 190 180 210
rect 140 170 150 190
rect 170 170 180 190
rect 140 150 180 170
rect 140 130 150 150
rect 170 130 180 150
rect 140 110 180 130
rect 140 90 150 110
rect 170 90 180 110
rect 140 70 180 90
rect 140 50 150 70
rect 170 50 180 70
rect 140 30 180 50
rect 140 10 150 30
rect 170 10 180 30
rect 140 0 180 10
<< viali >>
rect 40 455 100 475
rect -100 370 -80 390
rect -30 370 -10 390
rect -30 330 -10 350
rect -30 50 -10 70
rect -30 10 -10 30
rect 150 370 170 390
rect 150 330 170 350
rect 150 50 170 70
rect 150 10 170 30
<< metal1 >>
rect 0 475 140 490
rect 0 455 40 475
rect 100 455 140 475
rect 0 440 140 455
rect -110 390 -70 405
rect -110 370 -100 390
rect -80 370 -70 390
rect -110 355 -70 370
rect -40 390 0 400
rect -40 370 -30 390
rect -10 385 0 390
rect 140 390 180 400
rect 140 385 150 390
rect -10 370 150 385
rect 170 370 180 390
rect -40 350 180 370
rect -40 330 -30 350
rect -10 335 150 350
rect -10 330 0 335
rect -40 320 0 330
rect 140 330 150 335
rect 170 330 180 350
rect 140 320 180 330
rect -40 70 0 80
rect -40 50 -30 70
rect -10 65 0 70
rect 140 70 180 80
rect 140 65 150 70
rect -10 50 150 65
rect 170 50 180 70
rect -40 30 180 50
rect -40 10 -30 30
rect -10 15 150 30
rect -10 10 0 15
rect -40 0 0 10
rect 140 10 150 15
rect 170 10 180 30
rect 140 0 180 10
<< labels >>
rlabel metal1 -90 405 -90 405 1 B
port 4 n
rlabel metal1 -20 400 -20 400 1 S
port 2 n
rlabel locali 70 0 70 0 5 D
port 3 s
rlabel metal1 70 490 70 490 1 G
port 1 n
<< end >>

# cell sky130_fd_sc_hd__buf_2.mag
magic
tech sky130A
magscale 1 2
<< nwell >>
rect -38 261 406 582
<< pwell >>
rect 98 157 367 203
rect 1 21 367 157
rect 29 -17 63 21
<< scnmos >>
rect 79 47 109 131
rect 174 47 204 177
rect 258 47 288 177
<< scpmoshvt >>
rect 79 361 109 489
rect 174 297 204 497
rect 258 297 288 497
<< ndiff >>
rect 124 131 174 177
rect 27 106 79 131
rect 27 72 35 106
rect 69 72 79 106
rect 27 47 79 72
rect 109 93 174 131
rect 109 59 128 93
rect 162 59 174 93
rect 109 47 174 59
rect 204 123 258 177
rect 204 89 214 123
rect 248 89 258 123
rect 204 47 258 89
rect 288 165 341 177
rect 288 131 298 165
rect 332 131 341 165
rect 288 97 341 131
rect 288 63 298 97
rect 332 63 341 97
rect 288 47 341 63
<< pdiff >>
rect 124 489 174 497
rect 27 477 79 489
rect 27 443 35 477
rect 69 443 79 477
rect 27 409 79 443
rect 27 375 35 409
rect 69 375 79 409
rect 27 361 79 375
rect 109 477 174 489
rect 109 443 128 477
rect 162 443 174 477
rect 109 409 174 443
rect 109 375 128 409
rect 162 375 174 409
rect 109 361 174 375
rect 124 297 174 361
rect 204 461 258 497
rect 204 427 214 461
rect 248 427 258 461
rect 204 380 258 427
rect 204 346 214 380
rect 248 346 258 380
rect 204 297 258 346
rect 288 485 341 497
rect 288 451 298 485
rect 332 451 341 485
rect 288 417 341 451
rect 288 383 298 417
rect 332 383 341 417
rect 288 349 341 383
rect 288 315 298 349
rect 332 315 341 349
rect 288 297 341 315
<< ndiffc >>
rect 35 72 69 106
rect 128 59 162 93
rect 214 89 248 123
rect 298 131 332 165
rect 298 63 332 97
<< pdiffc >>
rect 35 443 69 477
rect 35 375 69 409
rect 128 443 162 477
rect 128 375 162 409
rect 214 427 248 461
rect 214 346 248 380
rect 298 451 332 485
rect 298 383 332 417
rect 298 315 332 349
<< poly >>
rect 79 489 109 515
rect 174 497 204 523
rect 258 497 288 523
rect 79 265 109 361
rect 174 265 204 297
rect 258 265 288 297
rect 27 249 109 265
rect 27 215 37 249
rect 71 215 109 249
rect 27 199 109 215
rect 151 249 288 265
rect 151 215 161 249
rect 195 215 288 249
rect 151 199 288 215
rect 79 131 109 199
rect 174 177 204 199
rect 258 177 288 199
rect 79 21 109 47
rect 174 21 204 47
rect 258 21 288 47
<< polycont >>
rect 37 215 71 249
rect 161 215 195 249
<< locali >>
rect 0 527 29 561
rect 63 527 121 561
rect 155 527 213 561
rect 247 527 305 561
rect 339 527 368 561
rect 35 477 69 493
rect 35 409 69 443
rect 112 477 178 527
rect 112 443 128 477
rect 162 443 178 477
rect 112 409 178 443
rect 112 375 128 409
rect 162 375 178 409
rect 212 461 263 493
rect 212 427 214 461
rect 248 427 263 461
rect 212 380 263 427
rect 35 341 69 375
rect 212 346 214 380
rect 248 346 263 380
rect 35 307 178 341
rect 212 312 263 346
rect 17 249 88 271
rect 17 215 37 249
rect 71 215 88 249
rect 17 197 88 215
rect 144 265 178 307
rect 144 249 195 265
rect 144 215 161 249
rect 144 199 195 215
rect 144 161 178 199
rect 229 166 263 312
rect 298 485 350 527
rect 332 451 350 485
rect 298 417 350 451
rect 332 383 350 417
rect 298 349 350 383
rect 332 315 350 349
rect 298 297 350 315
rect 35 127 178 161
rect 35 106 69 127
rect 212 123 263 166
rect 35 51 69 72
rect 112 59 128 93
rect 162 59 178 93
rect 112 17 178 59
rect 212 89 214 123
rect 248 89 263 123
rect 212 51 263 89
rect 298 165 350 185
rect 332 131 350 165
rect 298 97 350 131
rect 332 63 350 97
rect 298 17 350 63
rect 0 -17 29 17
rect 63 -17 121 17
rect 155 -17 213 17
rect 247 -17 305 17
rect 339 -17 368 17
<< viali >>
rect 29 527 63 561
rect 121 527 155 561
rect 213 527 247 561
rect 305 527 339 561
rect 29 -17 63 17
rect 121 -17 155 17
rect 213 -17 247 17
rect 305 -17 339 17
<< metal1 >>
rect 0 561 368 592
rect 0 527 29 561
rect 63 527 121 561
rect 155 527 213 561
rect 247 527 305 561
rect 339 527 368 561
rect 0 496 368 527
rect 0 17 368 48
rect 0 -17 29 17
rect 63 -17 121 17
rect 155 -17 213 17
rect 247 -17 305 17
rect 339 -17 368 17
rect 0 -48 368 -17
<< labels >>
flabel metal1 s 29 527 63 561 0 FreeSans 200 0 0 0 VPWR
port 2 nsew
flabel metal1 s 29 -17 63 17 0 FreeSans 200 0 0 0 VGND
port 3 nsew
flabel locali s 29 527 63 561 0 FreeSans 200 0 0 0 VPWR
port 2 nsew
flabel locali s 29 -17 63 17 0 FreeSans 200 0 0 0 VGND
port 3 nsew
flabel locali s 212 85 246 119 0 FreeSans 200 0 0 0 X
port 4 nsew
flabel locali s 212 357 246 391 0 FreeSans 200 0 0 0 X
port 4 nsew
flabel locali s 212 425 246 459 0 FreeSans 200 0 0 0 X
port 4 nsew
flabel locali s 29 221 63 255 0 FreeSans 200 0 0 0 A
port 5 nsew
flabel nwell s 29 527 63 561 0 FreeSans 200 0 0 0 VPB
port 6 nsew
flabel pwell s 29 -17 63 17 0 FreeSans 200 0 0 0 VNB
port 7 nsew
rlabel comment s 0 0 0 0 4 buf_2
<< properties >>
string FIXED_BBOX 0 0 368 544
string path 0.000 2.720 1.840 2.720 
<< end >>

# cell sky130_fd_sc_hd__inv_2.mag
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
